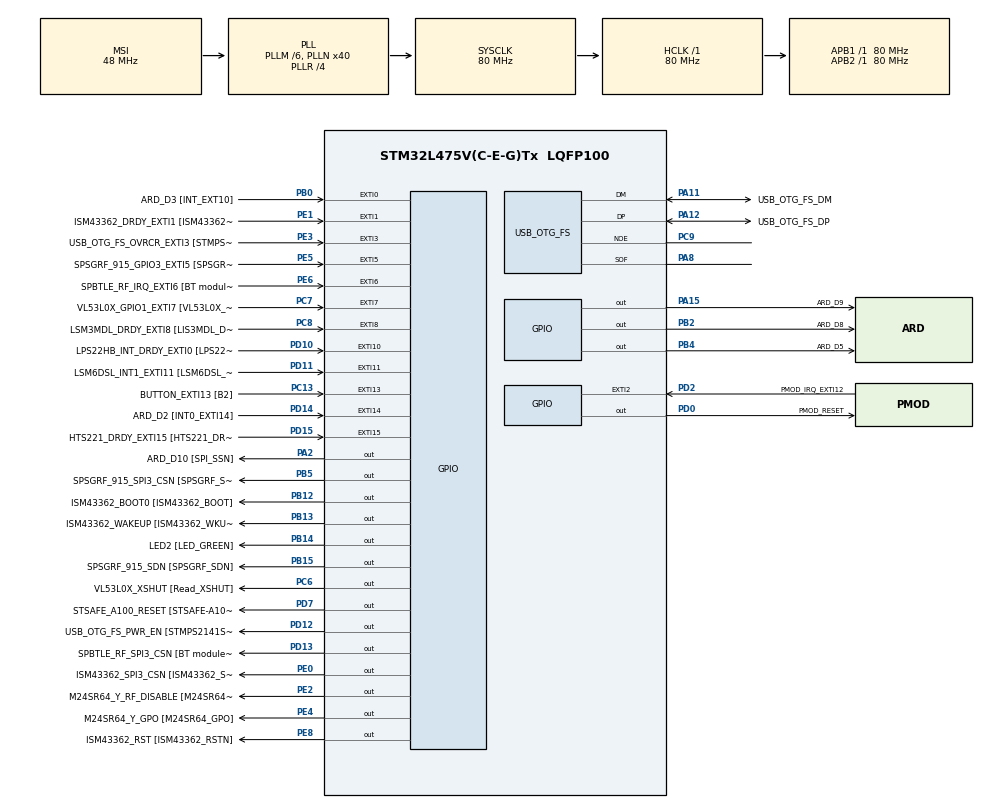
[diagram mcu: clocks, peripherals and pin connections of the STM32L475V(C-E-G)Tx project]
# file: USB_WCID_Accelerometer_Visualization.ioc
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Mcu.Family=STM32L4
Mcu.Name=STM32L475V(C-E-G)Tx
Mcu.Package=LQFP100
NVIC.EXTI15_10_IRQn=true\:0\:0\:false\:false\:true\:true\:true
NVIC.EXTI9_5_IRQn=true\:0\:0\:false\:false\:true\:true\:true
NVIC.OTG_FS_IRQn=true\:7\:0\:true\:false\:true\:true\:true
NVIC.PriorityGroup=NVIC_PRIORITYGROUP_4
PA0.GPIO_Label=ARD_D1 [UART4_TX]
PA0.Signal=UART4_TX
PA1.GPIO_Label=ARD_D0 [UART4_RX]
PA1.Signal=UART4_RX
PA10.GPIO_Label=USB_OTG_FS_ID
PA10.Signal=USB_OTG_FS_ID
PA11.GPIO_Label=USB_OTG_FS_DM
PA11.Mode=Device_Only
PA11.Signal=USB_OTG_FS_DM
PA12.GPIO_Label=USB_OTG_FS_DP
PA12.Mode=Device_Only
PA12.Signal=USB_OTG_FS_DP
PA13\ (JTMS-SWDIO).GPIO_Label=SYS_JTMS_SWDIO
PA13\ (JTMS-SWDIO).Signal=SYS_JTMS-SWDIO
PA14\ (JTCK-SWCLK).GPIO_Label=SYS_JTCK_SWCLK
PA14\ (JTCK-SWCLK).Signal=SYS_JTCK-SWCLK
PA15\ (JTDI).GPIO_Label=ARD_D9
PA15\ (JTDI).Signal=GPIO_Output
PA2.GPIO_Label=ARD_D10 [SPI_SSN]
PA2.Signal=GPIO_Output
PA3.GPIO_Label=ARD_D4
PA3.Signal=S_TIM2_CH4
PA4.GPIO_Label=ARD_D7
PA4.Signal=ADCx_IN9
PA5.GPIO_Label=ARD_D13 [SPI1_SCK]
PA5.Signal=SPI1_SCK
PA6.GPIO_Label=ARD_D12 [SPI1_MISO]
PA6.Signal=SPI1_MISO
PA7.GPIO_Label=ARD_D11 [SPI1_MOSI]
PA7.Signal=SPI1_MOSI
PA8.Mode=Activate_SOF_FS
PA8.Signal=USB_OTG_FS_SOF
PA9.GPIO_Label=USB_OTG_FS_VBUS [STMPS2141STR_OUT]
PA9.Signal=USB_OTG_FS_VBUS
PB0.GPIO_Label=ARD_D3 [INT_EXT10]
PB0.Signal=GPXTI0
PB1.GPIO_Label=ARD_D6 [ADC1_IN6]
PB1.Signal=ADCx_IN16
PB10.GPIO_Label=INTERNAL_I2C2_SCL [VL53L0X_SCL]
PB10.Signal=I2C2_SCL
PB11.GPIO_Label=INTERNAL_I2C2_SDA [VL53L0X_SDA]
PB11.Signal=I2C2_SDA
PB12.GPIO_Label=ISM43362_BOOT0 [ISM43362_BOOT]
PB12.Signal=GPIO_Output
PB13.GPIO_Label=ISM43362_WAKEUP [ISM43362_WKUP]
PB13.Signal=GPIO_Output
PB14.GPIO_Label=LED2 [LED_GREEN]
PB14.Signal=GPIO_Output
PB15.GPIO_Label=SPSGRF_915_SDN [SPSGRF_SDN]
PB15.Signal=GPIO_Output
PB2.GPIO_Label=ARD_D8
PB2.Signal=GPIO_Output
PB3\ (JTDO-TRACESWO).GPIO_Label=SYS_JTD0_SWO
PB3\ (JTDO-TRACESWO).Signal=SYS_JTDO-SWO
PB4\ (NJTRST).GPIO_Label=ARD_D5
PB4\ (NJTRST).Signal=GPIO_Output
PB5.GPIO_Label=SPSGRF_915_SPI3_CSN [SPSGRF_SPI_CS]
PB5.PinState=GPIO_PIN_SET
PB5.Signal=GPIO_Output
PB6.GPIO_Label=ST_LINK_UART1_TX
PB6.Signal=USART1_TX
PB7.GPIO_Label=ST_LINK_UART1_RX
PB7.Signal=USART1_RX
PB8.GPIO_Label=ARD_D15 [I2C1_SCL]
PB8.Signal=I2C1_SCL
PB9.GPIO_Label=ARD_D14 [I2C1_SDA]
PB9.Signal=I2C1_SDA
PC0.GPIO_Label=ARD_A5 [ADC]
PC0.Signal=ADCx_IN1
PC1.GPIO_Label=ARD_A4 [ADC]
PC1.Signal=ADCx_IN2
PC10.GPIO_Label=INTERNAL_SPI3_SCK [BT module_SPI_SCLK] [ISM43362_SCK]
PC10.Signal=SPI3_SCK
PC11.GPIO_Label=INTERNAL_SPI3_MISO [BT module_SPI_MISO] [ISM43362_MISO]
PC11.Signal=SPI3_MISO
PC12.GPIO_Label=INTERNAL_SPI3_MOSI [BT module_SPI_MOSI] [ISM43362_MOSI]
PC12.Signal=SPI3_MOSI
PC13.GPIO_Label=BUTTON_EXTI13 [B2]
PC13.GPIO_ModeDefaultEXTI=GPIO_MODE_IT_FALLING
PC13.Signal=GPXTI13
PC14-OSC32_IN\ (PC14).Mode=LSE-External-Oscillator
PC14-OSC32_IN\ (PC14).Signal=RCC_OSC32_IN
PC15-OSC32_OUT\ (PC15).Mode=LSE-External-Oscillator
PC15-OSC32_OUT\ (PC15).Signal=RCC_OSC32_OUT
PC2.GPIO_Label=ARD_A3 [ADC]
PC2.Signal=ADCx_IN3
PC3.GPIO_Label=ARD_A2 [ADC]
PC3.Signal=ADCx_IN4
PC4.GPIO_Label=ARD_A1 [ADC]
PC4.Signal=ADCx_IN13
PC5.GPIO_Label=ARD_A0 [ADC]
PC5.Signal=ADCx_IN14
PC6.GPIO_Label=VL53L0X_XSHUT [Read_XSHUT]
PC6.Signal=GPIO_Output
PC7.GPIO_Label=VL53L0X_GPIO1_EXTI7 [VL53L0X_GPIO1]
PC7.Signal=GPXTI7
PC8.GPIO_Label=LSM3MDL_DRDY_EXTI8 [LIS3MDL_DRDY]
PC8.Signal=GPXTI8
PC9.Mode=Activate_NOE
PC9.Signal=USB_OTG_FS_NOE
PD0.GPIO_Label=PMOD_RESET
PD0.Signal=GPIO_Output
PD1.GPIO_Label=PMOD_SPI2_SCK
PD1.Signal=SPI2_SCK
PD10.GPIO_Label=LPS22HB_INT_DRDY_EXTI0 [LPS22HB_INT_DRDY] 
PD10.Signal=GPXTI10
PD11.GPIO_Label=LSM6DSL_INT1_EXTI11 [LSM6DSL_INT1]
PD11.Signal=GPXTI11
PD12.GPIO_Label=USB_OTG_FS_PWR_EN [STMPS2141STR_EN]
PD12.Signal=GPIO_Output
PD13.GPIO_Label=SPBTLE_RF_SPI3_CSN [BT module_SPI_CS]
PD13.PinState=GPIO_PIN_SET
PD13.Signal=GPIO_Output
PD14.GPIO_Label=ARD_D2 [INT0_EXTI14]
PD14.Signal=GPXTI14
PD15.GPIO_Label=HTS221_DRDY_EXTI15 [HTS221_DRDY]
PD15.Signal=GPXTI15
PD2.GPIO_Label=PMOD_IRQ_EXTI12
PD2.Signal=GPXTI2
PD3.GPIO_Label=PMOD_UART2_CTS
PD3.Signal=USART2_CTS
PD4.GPIO_Label=PMOD_UART2_RTS
PD4.Signal=USART2_RTS
PD5.GPIO_Label=PMOD_UART2_TX
PD5.Signal=USART2_TX
PD6.GPIO_Label=PMOD_UART2_RX
PD6.Signal=USART2_RX
PD7.GPIO_Label=STSAFE_A100_RESET [STSAFE-A100_RESET]
PD7.Signal=GPIO_Output
PD8.GPIO_Label=INTERNAL_UART3_TX [ISM43362_RX]
PD8.Signal=USART3_TX
PD9.GPIO_Label=INTERNAL_UART3_RX [ISM43362_TX]
PD9.Signal=USART3_RX
PE0.GPIO_Label=ISM43362_SPI3_CSN [ISM43362_SSN]
PE0.PinState=GPIO_PIN_SET
PE0.Signal=GPIO_Output
PE1.GPIO_Label=ISM43362_DRDY_EXTI1 [ISM43362_DATARDY]
PE1.Signal=GPXTI1
PE10.GPIO_Label=QUADSPI_CLK [MX25R6435F_SCLK]
PE10.Signal=QUADSPI_CLK
PE11.GPIO_Label=QUADSPI_NCS [MX25R6435F_SCLK]
PE11.Signal=QUADSPI_NCS
PE12.GPIO_Label=OQUADSPI_BK1_IO0 [MX25R6435F_IO0]
PE12.Signal=QUADSPI_BK1_IO0
PE13.GPIO_Label=QUADSPI_BK1_IO1 [MX25R6435F_IO1]
PE13.Signal=QUADSPI_BK1_IO1
PE14.GPIO_Label=QUAD_SPI_BK1_IO2 [MX25R6435F_IO2]
PE14.Signal=QUADSPI_BK1_IO2
PE15.GPIO_Label=QUAD_SPI_BK1_IO3 [MX25R6435F_IO3]
PE15.Signal=QUADSPI_BK1_IO3
PE2.GPIO_Label=M24SR64_Y_RF_DISABLE [M24SR64_RFDIS]
PE2.Signal=GPIO_Output
PE3.GPIO_Label=USB_OTG_FS_OVRCR_EXTI3 [STMPS2141STR_FAULT]
PE3.Signal=GPXTI3
PE4.GPIO_Label=M24SR64_Y_GPO [M24SR64_GPO]
PE4.Signal=GPIO_Output
PE5.GPIO_Label=SPSGRF_915_GPIO3_EXTI5 [SPSGRF_GPIO_3]
PE5.Signal=GPXTI5
PE6.GPIO_Label=SPBTLE_RF_IRQ_EXTI6 [BT module_SPI_IRQ]
PE6.Signal=GPXTI6
PE7.GPIO_Label=DFSDM1_DATIN2 [MP34DT01_DOUT]
PE7.Signal=S_DATAIN2DFSDM1
PE8.GPIO_Label=ISM43362_RST [ISM43362_RSTN]
PE8.Signal=GPIO_Output
PE9.GPIO_Label=DFSDM1_CKOUT [MP34DT01_CLK]
PE9.Signal=S_CKOUTDFSDM1
PH0-OSC_IN\ (PH0).Mode=HSE-External-Oscillator
PH0-OSC_IN\ (PH0).Signal=RCC_OSC_IN
PH1-OSC_OUT\ (PH1).Mode=HSE-External-Oscillator
PH1-OSC_OUT\ (PH1).Signal=RCC_OSC_OUT
ProjectManager.HeapSize=0x2000
ProjectManager.StackSize=0x4000
ProjectManager.TargetToolchain=STM32CubeIDE
RCC.ADCFreq_Value=48000000
RCC.AHBFreq_Value=80000000
RCC.APB1Freq_Value=80000000
RCC.APB1TimFreq_Value=80000000
RCC.APB2Freq_Value=80000000
RCC.APB2TimFreq_Value=80000000
RCC.CK48CLockSelection=RCC_USBCLKSOURCE_MSI
RCC.CortexFreq_Value=80000000
RCC.HCLKFreq_Value=80000000
RCC.HSE_VALUE=8000000
RCC.HSI_VALUE=16000000
RCC.MSIClockRange=RCC_MSIRANGE_11
RCC.MSI_VALUE=48000000
RCC.PLLM=6
RCC.PLLN=40
RCC.PLLR=RCC_PLLR_DIV4
RCC.PLLSAI1N=12
RCC.SYSCLKFreq_VALUE=80000000
RCC.SYSCLKSource=RCC_SYSCLKSOURCE_PLLCLK
RCC.USBFreq_Value=48000000
RCC.VCOOutputFreq_Value=320000000
SH.ADCx_IN1.0=ADC1_IN1
SH.ADCx_IN13.0=ADC1_IN13
SH.ADCx_IN14.0=ADC1_IN14
SH.ADCx_IN16.0=ADC1_IN16
SH.ADCx_IN2.0=ADC1_IN2
SH.ADCx_IN3.0=ADC1_IN3
SH.ADCx_IN4.0=ADC1_IN4
SH.ADCx_IN9.0=ADC1_IN9
SH.S_CKOUTDFSDM1.0=DFSDM1_CKOUT
SH.S_DATAIN2DFSDM1.0=DFSDM1_DATIN2
SH.S_TIM2_CH4.0=TIM2_CH4
USB_OTG_FS.VirtualMode=Device_Only
board=B-L475E-IOT01A1

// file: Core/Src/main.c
/* USER CODE BEGIN Header */
/**
  ******************************************************************************
  * @file           : main.c
  * @brief          : Main program body
  ******************************************************************************
  * @attention
  *
  * Copyright (c) 2020-2021 STMicroelectronics.
  * All rights reserved.
  * This software is licensed under terms that can be found in the LICENSE file in
  * the root directory of this software component.
  * If no LICENSE file comes with this software, it is provided AS-IS.
  *
  ******************************************************************************
  */
/* USER CODE END Header */
#include "main.h"

/* USER CODE BEGIN Includes */
#undef CUBEIDE
#ifdef CUBEIDE
#include "../../../../../../Drivers/Components/lsm6dsl/lsm6dsl.h"
#else
#include "lsm6dsl.h"
#endif

#include "b_l475e_iot01a1_bus.h"

#include "ai_logging.h"

/* USER CODE END Includes */

PCD_HandleTypeDef hpcd_USB_OTG_FS;

/* USER CODE BEGIN PV */
//PCD_HandleTypeDef hpcd_USB_OTG_FS;

#define SEND_BUFFER_SIZE 128
static uint8_t send_buffer[SEND_BUFFER_SIZE];

//extern PCD_HandleTypeDef hpcd;

extern uint32_t UserTxBufPtrIn;
extern uint8_t *UserTxBuffer;

LSM6DSL_Object_t MotionSensor;
volatile uint32_t motionDataAvailable;

extern volatile uint8_t usb_connected;
extern volatile uint8_t streaming_started;

USBD_HandleTypeDef USBD_Device;
ai_logging_device_t device;

/* USER CODE END PV */

void SystemClock_Config(void);
static void MX_GPIO_Init(void);
static void MX_USB_OTG_FS_PCD_Init(void);
/* USER CODE BEGIN PFP */
static void MEMS_Init(void);

/* USER CODE END PFP */

int main(void)
{

  /* MCU Configuration--------------------------------------------------------*/

  /* Reset of all peripherals, Initializes the Flash interface and the Systick. */
  HAL_Init();

  /* Configure the system clock */
  SystemClock_Config();

  /* USER CODE BEGIN SysInit */

  /* Enable Power Clock*/
  __HAL_RCC_PWR_CLK_ENABLE();

  /* enable USB power on Pwrctrl CR2 register */
  HAL_PWREx_EnableVddUSB();
  HAL_PWREx_EnableVddIO2();

  /* USER CODE END SysInit */

  /* Initialize all configured peripherals */
  MX_GPIO_Init();
  MX_USB_OTG_FS_PCD_Init();

  /* Infinite loop */
  /* USER CODE BEGIN WHILE */

  /* Init Device Library for USB WCID */
  USBD_Init(&USBD_Device, &WCID_STREAMING_Desc, 0);
  /* Add Supported Class */
  USBD_RegisterClass(&USBD_Device, USBD_WCID_STREAMING_CLASS);
  /* Add CDC Interface Class */
  USBD_WCID_STREAMING_RegisterInterface(&USBD_Device, &USBD_WCID_STREAMING_fops);
  /* Start Device Process */
  USBD_Start(&USBD_Device);

  MEMS_Init();

  // Stucture init
  ai_logging_init(&device);
  ai_logging_init_send(&device, usb_wcid_send_function, send_buffer, SEND_BUFFER_SIZE);

  LSM6DSL_Axes_t acc_axes;
  ai_logging_packet_t packet;

  while(usb_connected < 1); // Be sure we are detected by computer

  motionDataAvailable = 0;

  start_streaming();

  while (1)
  {
    if(streaming_started == 1)
    {
      if(motionDataAvailable > 0)
      {
        LSM6DSL_ACC_GetAxes(&MotionSensor, &acc_axes);

        packet.message = "Accelero";
        packet.message_size = strlen(packet.message);
        packet.payload = (uint8_t*)&acc_axes;
        packet.payload_size = sizeof(acc_axes);
        ai_logging_create_shape_1d(&packet.shape, 3);
        packet.payload_type = AI_INT32;
        packet.timestamp = HAL_GetTick();
        ai_logging_send_packet(&device, &packet);
      }
    }
  }
    /* USER CODE END WHILE */

}

void SystemClock_Config(void)
{
  RCC_OscInitTypeDef RCC_OscInitStruct = {0};
  RCC_ClkInitTypeDef RCC_ClkInitStruct = {0};
  RCC_PeriphCLKInitTypeDef PeriphClkInit = {0};

  /** Configure LSE Drive Capability
  */
  HAL_PWR_EnableBkUpAccess();
  __HAL_RCC_LSEDRIVE_CONFIG(RCC_LSEDRIVE_LOW);
  /** Initializes the RCC Oscillators according to the specified parameters
  * in the RCC_OscInitTypeDef structure.
  */
  RCC_OscInitStruct.OscillatorType = RCC_OSCILLATORTYPE_LSE|RCC_OSCILLATORTYPE_MSI;
  RCC_OscInitStruct.LSEState = RCC_LSE_ON;
  RCC_OscInitStruct.MSIState = RCC_MSI_ON;
  RCC_OscInitStruct.MSICalibrationValue = 0;
  RCC_OscInitStruct.MSIClockRange = RCC_MSIRANGE_11;
  RCC_OscInitStruct.PLL.PLLState = RCC_PLL_ON;
  RCC_OscInitStruct.PLL.PLLSource = RCC_PLLSOURCE_MSI;
  RCC_OscInitStruct.PLL.PLLM = 6;
  RCC_OscInitStruct.PLL.PLLN = 40;
  RCC_OscInitStruct.PLL.PLLP = RCC_PLLP_DIV7;
  RCC_OscInitStruct.PLL.PLLQ = RCC_PLLQ_DIV2;
  RCC_OscInitStruct.PLL.PLLR = RCC_PLLR_DIV4;
  if (HAL_RCC_OscConfig(&RCC_OscInitStruct) != HAL_OK)
  {
    Error_Handler();
  }
  /** Initializes the CPU, AHB and APB buses clocks
  */
  RCC_ClkInitStruct.ClockType = RCC_CLOCKTYPE_HCLK|RCC_CLOCKTYPE_SYSCLK
                              |RCC_CLOCKTYPE_PCLK1|RCC_CLOCKTYPE_PCLK2;
  RCC_ClkInitStruct.SYSCLKSource = RCC_SYSCLKSOURCE_PLLCLK;
  RCC_ClkInitStruct.AHBCLKDivider = RCC_SYSCLK_DIV1;
  RCC_ClkInitStruct.APB1CLKDivider = RCC_HCLK_DIV1;
  RCC_ClkInitStruct.APB2CLKDivider = RCC_HCLK_DIV1;

  if (HAL_RCC_ClockConfig(&RCC_ClkInitStruct, FLASH_LATENCY_4) != HAL_OK)
  {
    Error_Handler();
  }
  PeriphClkInit.PeriphClockSelection = RCC_PERIPHCLK_USB;
  PeriphClkInit.UsbClockSelection = RCC_USBCLKSOURCE_MSI;
  if (HAL_RCCEx_PeriphCLKConfig(&PeriphClkInit) != HAL_OK)
  {
    Error_Handler();
  }
  /** Configure the main internal regulator output voltage
  */
  if (HAL_PWREx_ControlVoltageScaling(PWR_REGULATOR_VOLTAGE_SCALE1) != HAL_OK)
  {
    Error_Handler();
  }
  /** Enable MSI Auto calibration
  */
  HAL_RCCEx_EnableMSIPLLMode();
}

static void MX_USB_OTG_FS_PCD_Init(void)
{

  hpcd_USB_OTG_FS.Instance = USB_OTG_FS;
  hpcd_USB_OTG_FS.Init.dev_endpoints = 6;
  hpcd_USB_OTG_FS.Init.speed = PCD_SPEED_FULL;
  hpcd_USB_OTG_FS.Init.phy_itface = PCD_PHY_EMBEDDED;
  hpcd_USB_OTG_FS.Init.Sof_enable = ENABLE;
  hpcd_USB_OTG_FS.Init.low_power_enable = DISABLE;
  hpcd_USB_OTG_FS.Init.lpm_enable = DISABLE;
  hpcd_USB_OTG_FS.Init.battery_charging_enable = DISABLE;
  hpcd_USB_OTG_FS.Init.use_dedicated_ep1 = DISABLE;
  hpcd_USB_OTG_FS.Init.vbus_sensing_enable = DISABLE;
  if (HAL_PCD_Init(&hpcd_USB_OTG_FS) != HAL_OK)
  {
    Error_Handler();
  }

}

static void MX_GPIO_Init(void)
{
  GPIO_InitTypeDef GPIO_InitStruct = {0};

  /* GPIO Ports Clock Enable */
  __HAL_RCC_GPIOE_CLK_ENABLE();
  __HAL_RCC_GPIOC_CLK_ENABLE();
  __HAL_RCC_GPIOH_CLK_ENABLE();
  __HAL_RCC_GPIOA_CLK_ENABLE();
  __HAL_RCC_GPIOB_CLK_ENABLE();
  __HAL_RCC_GPIOD_CLK_ENABLE();

  /*Configure GPIO pin Output Level */
  HAL_GPIO_WritePin(GPIOE, M24SR64_Y_RF_DISABLE_Pin|M24SR64_Y_GPO_Pin|ISM43362_RST_Pin, GPIO_PIN_RESET);

  /*Configure GPIO pin Output Level */
  HAL_GPIO_WritePin(GPIOA, ARD_D10_Pin|ARD_D9_Pin, GPIO_PIN_RESET);

  /*Configure GPIO pin Output Level */
  HAL_GPIO_WritePin(GPIOB, ARD_D8_Pin|ISM43362_BOOT0_Pin|ISM43362_WAKEUP_Pin|LED2_Pin
                          |SPSGRF_915_SDN_Pin|ARD_D5_Pin, GPIO_PIN_RESET);

  /*Configure GPIO pin Output Level */
  HAL_GPIO_WritePin(GPIOD, USB_OTG_FS_PWR_EN_Pin|PMOD_RESET_Pin|STSAFE_A100_RESET_Pin, GPIO_PIN_RESET);

  /*Configure GPIO pin Output Level */
  HAL_GPIO_WritePin(SPBTLE_RF_SPI3_CSN_GPIO_Port, SPBTLE_RF_SPI3_CSN_Pin, GPIO_PIN_SET);

  /*Configure GPIO pin Output Level */
  HAL_GPIO_WritePin(VL53L0X_XSHUT_GPIO_Port, VL53L0X_XSHUT_Pin, GPIO_PIN_RESET);

  /*Configure GPIO pin Output Level */
  HAL_GPIO_WritePin(SPSGRF_915_SPI3_CSN_GPIO_Port, SPSGRF_915_SPI3_CSN_Pin, GPIO_PIN_SET);

  /*Configure GPIO pin Output Level */
  HAL_GPIO_WritePin(ISM43362_SPI3_CSN_GPIO_Port, ISM43362_SPI3_CSN_Pin, GPIO_PIN_SET);

  /*Configure GPIO pins : M24SR64_Y_RF_DISABLE_Pin M24SR64_Y_GPO_Pin ISM43362_RST_Pin ISM43362_SPI3_CSN_Pin */
  GPIO_InitStruct.Pin = M24SR64_Y_RF_DISABLE_Pin|M24SR64_Y_GPO_Pin|ISM43362_RST_Pin|ISM43362_SPI3_CSN_Pin;
  GPIO_InitStruct.Mode = GPIO_MODE_OUTPUT_PP;
  GPIO_InitStruct.Pull = GPIO_NOPULL;
  GPIO_InitStruct.Speed = GPIO_SPEED_FREQ_LOW;
  HAL_GPIO_Init(GPIOE, &GPIO_InitStruct);

  /*Configure GPIO pins : USB_OTG_FS_OVRCR_EXTI3_Pin SPSGRF_915_GPIO3_EXTI5_Pin SPBTLE_RF_IRQ_EXTI6_Pin ISM43362_DRDY_EXTI1_Pin */
  GPIO_InitStruct.Pin = USB_OTG_FS_OVRCR_EXTI3_Pin|SPSGRF_915_GPIO3_EXTI5_Pin|SPBTLE_RF_IRQ_EXTI6_Pin|ISM43362_DRDY_EXTI1_Pin;
  GPIO_InitStruct.Mode = GPIO_MODE_IT_RISING;
  GPIO_InitStruct.Pull = GPIO_NOPULL;
  HAL_GPIO_Init(GPIOE, &GPIO_InitStruct);

  /*Configure GPIO pin : BUTTON_EXTI13_Pin */
  GPIO_InitStruct.Pin = BUTTON_EXTI13_Pin;
  GPIO_InitStruct.Mode = GPIO_MODE_IT_FALLING;
  GPIO_InitStruct.Pull = GPIO_NOPULL;
  HAL_GPIO_Init(BUTTON_EXTI13_GPIO_Port, &GPIO_InitStruct);

  /*Configure GPIO pins : ARD_A5_Pin ARD_A4_Pin ARD_A3_Pin ARD_A2_Pin
                           ARD_A1_Pin ARD_A0_Pin */
  GPIO_InitStruct.Pin = ARD_A5_Pin|ARD_A4_Pin|ARD_A3_Pin|ARD_A2_Pin
                          |ARD_A1_Pin|ARD_A0_Pin;
  GPIO_InitStruct.Mode = GPIO_MODE_ANALOG_ADC_CONTROL;
  GPIO_InitStruct.Pull = GPIO_NOPULL;
  HAL_GPIO_Init(GPIOC, &GPIO_InitStruct);

  /*Configure GPIO pins : ARD_D1_Pin ARD_D0_Pin */
  GPIO_InitStruct.Pin = ARD_D1_Pin|ARD_D0_Pin;
  GPIO_InitStruct.Mode = GPIO_MODE_AF_PP;
  GPIO_InitStruct.Pull = GPIO_NOPULL;
  GPIO_InitStruct.Speed = GPIO_SPEED_FREQ_VERY_HIGH;
  GPIO_InitStruct.Alternate = GPIO_AF8_UART4;
  HAL_GPIO_Init(GPIOA, &GPIO_InitStruct);

  /*Configure GPIO pins : ARD_D10_Pin ARD_D9_Pin */
  GPIO_InitStruct.Pin = ARD_D10_Pin|ARD_D9_Pin;
  GPIO_InitStruct.Mode = GPIO_MODE_OUTPUT_PP;
  GPIO_InitStruct.Pull = GPIO_NOPULL;
  GPIO_InitStruct.Speed = GPIO_SPEED_FREQ_LOW;
  HAL_GPIO_Init(GPIOA, &GPIO_InitStruct);

  /*Configure GPIO pin : ARD_D4_Pin */
  GPIO_InitStruct.Pin = ARD_D4_Pin;
  GPIO_InitStruct.Mode = GPIO_MODE_AF_PP;
  GPIO_InitStruct.Pull = GPIO_NOPULL;
  GPIO_InitStruct.Speed = GPIO_SPEED_FREQ_LOW;
  GPIO_InitStruct.Alternate = GPIO_AF1_TIM2;
  HAL_GPIO_Init(ARD_D4_GPIO_Port, &GPIO_InitStruct);

  /*Configure GPIO pin : ARD_D7_Pin */
  GPIO_InitStruct.Pin = ARD_D7_Pin;
  GPIO_InitStruct.Mode = GPIO_MODE_ANALOG_ADC_CONTROL;
  GPIO_InitStruct.Pull = GPIO_NOPULL;
  HAL_GPIO_Init(ARD_D7_GPIO_Port, &GPIO_InitStruct);

  /*Configure GPIO pins : ARD_D13_Pin ARD_D12_Pin ARD_D11_Pin */
  GPIO_InitStruct.Pin = ARD_D13_Pin|ARD_D12_Pin|ARD_D11_Pin;
  GPIO_InitStruct.Mode = GPIO_MODE_AF_PP;
  GPIO_InitStruct.Pull = GPIO_NOPULL;
  GPIO_InitStruct.Speed = GPIO_SPEED_FREQ_VERY_HIGH;
  GPIO_InitStruct.Alternate = GPIO_AF5_SPI1;
  HAL_GPIO_Init(GPIOA, &GPIO_InitStruct);

  /*Configure GPIO pin : ARD_D3_Pin */
  GPIO_InitStruct.Pin = ARD_D3_Pin;
  GPIO_InitStruct.Mode = GPIO_MODE_IT_RISING;
  GPIO_InitStruct.Pull = GPIO_NOPULL;
  HAL_GPIO_Init(ARD_D3_GPIO_Port, &GPIO_InitStruct);

  /*Configure GPIO pin : ARD_D6_Pin */
  GPIO_InitStruct.Pin = ARD_D6_Pin;
  GPIO_InitStruct.Mode = GPIO_MODE_ANALOG_ADC_CONTROL;
  GPIO_InitStruct.Pull = GPIO_NOPULL;
  HAL_GPIO_Init(ARD_D6_GPIO_Port, &GPIO_InitStruct);

  /*Configure GPIO pins : ARD_D8_Pin ISM43362_BOOT0_Pin ISM43362_WAKEUP_Pin LED2_Pin
                           SPSGRF_915_SDN_Pin ARD_D5_Pin SPSGRF_915_SPI3_CSN_Pin */
  GPIO_InitStruct.Pin = ARD_D8_Pin|ISM43362_BOOT0_Pin|ISM43362_WAKEUP_Pin|LED2_Pin
                          |SPSGRF_915_SDN_Pin|ARD_D5_Pin|SPSGRF_915_SPI3_CSN_Pin;
  GPIO_InitStruct.Mode = GPIO_MODE_OUTPUT_PP;
  GPIO_InitStruct.Pull = GPIO_NOPULL;
  GPIO_InitStruct.Speed = GPIO_SPEED_FREQ_LOW;
  HAL_GPIO_Init(GPIOB, &GPIO_InitStruct);

  /*Configure GPIO pins : DFSDM1_DATIN2_Pin DFSDM1_CKOUT_Pin */
  GPIO_InitStruct.Pin = DFSDM1_DATIN2_Pin|DFSDM1_CKOUT_Pin;
  GPIO_InitStruct.Mode = GPIO_MODE_AF_PP;
  GPIO_InitStruct.Pull = GPIO_NOPULL;
  GPIO_InitStruct.Speed = GPIO_SPEED_FREQ_LOW;
  GPIO_InitStruct.Alternate = GPIO_AF6_DFSDM1;
  HAL_GPIO_Init(GPIOE, &GPIO_InitStruct);

  /*Configure GPIO pins : QUADSPI_CLK_Pin QUADSPI_NCS_Pin OQUADSPI_BK1_IO0_Pin QUADSPI_BK1_IO1_Pin
                           QUAD_SPI_BK1_IO2_Pin QUAD_SPI_BK1_IO3_Pin */
  GPIO_InitStruct.Pin = QUADSPI_CLK_Pin|QUADSPI_NCS_Pin|OQUADSPI_BK1_IO0_Pin|QUADSPI_BK1_IO1_Pin
                          |QUAD_SPI_BK1_IO2_Pin|QUAD_SPI_BK1_IO3_Pin;
  GPIO_InitStruct.Mode = GPIO_MODE_AF_PP;
  GPIO_InitStruct.Pull = GPIO_NOPULL;
  GPIO_InitStruct.Speed = GPIO_SPEED_FREQ_VERY_HIGH;
  GPIO_InitStruct.Alternate = GPIO_AF10_QUADSPI;
  HAL_GPIO_Init(GPIOE, &GPIO_InitStruct);

  /*Configure GPIO pins : INTERNAL_I2C2_SCL_Pin INTERNAL_I2C2_SDA_Pin */
  GPIO_InitStruct.Pin = INTERNAL_I2C2_SCL_Pin|INTERNAL_I2C2_SDA_Pin;
  GPIO_InitStruct.Mode = GPIO_MODE_AF_OD;
  GPIO_InitStruct.Pull = GPIO_PULLUP;
  GPIO_InitStruct.Speed = GPIO_SPEED_FREQ_VERY_HIGH;
  GPIO_InitStruct.Alternate = GPIO_AF4_I2C2;
  HAL_GPIO_Init(GPIOB, &GPIO_InitStruct);

  /*Configure GPIO pins : INTERNAL_UART3_TX_Pin INTERNAL_UART3_RX_Pin */
  GPIO_InitStruct.Pin = INTERNAL_UART3_TX_Pin|INTERNAL_UART3_RX_Pin;
  GPIO_InitStruct.Mode = GPIO_MODE_AF_PP;
  GPIO_InitStruct.Pull = GPIO_NOPULL;
  GPIO_InitStruct.Speed = GPIO_SPEED_FREQ_VERY_HIGH;
  GPIO_InitStruct.Alternate = GPIO_AF7_USART3;
  HAL_GPIO_Init(GPIOD, &GPIO_InitStruct);

  /*Configure GPIO pins : LPS22HB_INT_DRDY_EXTI0_Pin LSM6DSL_INT1_EXTI11_Pin ARD_D2_Pin HTS221_DRDY_EXTI15_Pin
                           PMOD_IRQ_EXTI12_Pin */
  GPIO_InitStruct.Pin = LPS22HB_INT_DRDY_EXTI0_Pin|LSM6DSL_INT1_EXTI11_Pin|ARD_D2_Pin|HTS221_DRDY_EXTI15_Pin
                          |PMOD_IRQ_EXTI12_Pin;
  GPIO_InitStruct.Mode = GPIO_MODE_IT_RISING;
  GPIO_InitStruct.Pull = GPIO_NOPULL;
  HAL_GPIO_Init(GPIOD, &GPIO_InitStruct);

  /*Configure GPIO pins : USB_OTG_FS_PWR_EN_Pin SPBTLE_RF_SPI3_CSN_Pin PMOD_RESET_Pin STSAFE_A100_RESET_Pin */
  GPIO_InitStruct.Pin = USB_OTG_FS_PWR_EN_Pin|SPBTLE_RF_SPI3_CSN_Pin|PMOD_RESET_Pin|STSAFE_A100_RESET_Pin;
  GPIO_InitStruct.Mode = GPIO_MODE_OUTPUT_PP;
  GPIO_InitStruct.Pull = GPIO_NOPULL;
  GPIO_InitStruct.Speed = GPIO_SPEED_FREQ_LOW;
  HAL_GPIO_Init(GPIOD, &GPIO_InitStruct);

  /*Configure GPIO pin : VL53L0X_XSHUT_Pin */
  GPIO_InitStruct.Pin = VL53L0X_XSHUT_Pin;
  GPIO_InitStruct.Mode = GPIO_MODE_OUTPUT_PP;
  GPIO_InitStruct.Pull = GPIO_NOPULL;
  GPIO_InitStruct.Speed = GPIO_SPEED_FREQ_LOW;
  HAL_GPIO_Init(VL53L0X_XSHUT_GPIO_Port, &GPIO_InitStruct);

  /*Configure GPIO pins : VL53L0X_GPIO1_EXTI7_Pin LSM3MDL_DRDY_EXTI8_Pin */
  GPIO_InitStruct.Pin = VL53L0X_GPIO1_EXTI7_Pin|LSM3MDL_DRDY_EXTI8_Pin;
  GPIO_InitStruct.Mode = GPIO_MODE_IT_RISING;
  GPIO_InitStruct.Pull = GPIO_NOPULL;
  HAL_GPIO_Init(GPIOC, &GPIO_InitStruct);

  /*Configure GPIO pins : INTERNAL_SPI3_SCK_Pin INTERNAL_SPI3_MISO_Pin INTERNAL_SPI3_MOSI_Pin */
  GPIO_InitStruct.Pin = INTERNAL_SPI3_SCK_Pin|INTERNAL_SPI3_MISO_Pin|INTERNAL_SPI3_MOSI_Pin;
  GPIO_InitStruct.Mode = GPIO_MODE_AF_PP;
  GPIO_InitStruct.Pull = GPIO_NOPULL;
  GPIO_InitStruct.Speed = GPIO_SPEED_FREQ_VERY_HIGH;
  GPIO_InitStruct.Alternate = GPIO_AF6_SPI3;
  HAL_GPIO_Init(GPIOC, &GPIO_InitStruct);

  /*Configure GPIO pin : PMOD_SPI2_SCK_Pin */
  GPIO_InitStruct.Pin = PMOD_SPI2_SCK_Pin;
  GPIO_InitStruct.Mode = GPIO_MODE_AF_PP;
  GPIO_InitStruct.Pull = GPIO_NOPULL;
  GPIO_InitStruct.Speed = GPIO_SPEED_FREQ_VERY_HIGH;
  GPIO_InitStruct.Alternate = GPIO_AF5_SPI2;
  HAL_GPIO_Init(PMOD_SPI2_SCK_GPIO_Port, &GPIO_InitStruct);

  /*Configure GPIO pins : PMOD_UART2_CTS_Pin PMOD_UART2_RTS_Pin PMOD_UART2_TX_Pin PMOD_UART2_RX_Pin */
  GPIO_InitStruct.Pin = PMOD_UART2_CTS_Pin|PMOD_UART2_RTS_Pin|PMOD_UART2_TX_Pin|PMOD_UART2_RX_Pin;
  GPIO_InitStruct.Mode = GPIO_MODE_AF_PP;
  GPIO_InitStruct.Pull = GPIO_NOPULL;
  GPIO_InitStruct.Speed = GPIO_SPEED_FREQ_VERY_HIGH;
  GPIO_InitStruct.Alternate = GPIO_AF7_USART2;
  HAL_GPIO_Init(GPIOD, &GPIO_InitStruct);

  /*Configure GPIO pins : ST_LINK_UART1_TX_Pin ST_LINK_UART1_RX_Pin */
  GPIO_InitStruct.Pin = ST_LINK_UART1_TX_Pin|ST_LINK_UART1_RX_Pin;
  GPIO_InitStruct.Mode = GPIO_MODE_AF_PP;
  GPIO_InitStruct.Pull = GPIO_NOPULL;
  GPIO_InitStruct.Speed = GPIO_SPEED_FREQ_VERY_HIGH;
  GPIO_InitStruct.Alternate = GPIO_AF7_USART1;
  HAL_GPIO_Init(GPIOB, &GPIO_InitStruct);

  /*Configure GPIO pins : ARD_D15_Pin ARD_D14_Pin */
  GPIO_InitStruct.Pin = ARD_D15_Pin|ARD_D14_Pin;
  GPIO_InitStruct.Mode = GPIO_MODE_AF_OD;
  GPIO_InitStruct.Pull = GPIO_PULLUP;
  GPIO_InitStruct.Speed = GPIO_SPEED_FREQ_VERY_HIGH;
  GPIO_InitStruct.Alternate = GPIO_AF4_I2C1;
  HAL_GPIO_Init(GPIOB, &GPIO_InitStruct);

  /* EXTI interrupt init*/
  HAL_NVIC_SetPriority(EXTI9_5_IRQn, 0, 0);
  HAL_NVIC_EnableIRQ(EXTI9_5_IRQn);

  HAL_NVIC_SetPriority(EXTI15_10_IRQn, 0, 0);
  HAL_NVIC_EnableIRQ(EXTI15_10_IRQn);

}

/* USER CODE BEGIN 4 */
static void MEMS_Init(void)
{
  LSM6DSL_IO_t io_ctx;
  uint8_t id;
  LSM6DSL_AxesRaw_t axes;

  /* Link I2C functions to the LSM6DSL driver */
  io_ctx.BusType     = LSM6DSL_I2C_BUS;
  io_ctx.Address     = LSM6DSL_I2C_ADD_L;
  io_ctx.Init        = BSP_I2C2_Init;
  io_ctx.DeInit      = BSP_I2C2_DeInit;
  io_ctx.ReadReg     = BSP_I2C2_ReadReg;
  io_ctx.WriteReg    = BSP_I2C2_WriteReg;
  io_ctx.GetTick     = BSP_GetTick;
  LSM6DSL_RegisterBusIO(&MotionSensor, &io_ctx);

  /* Read the LSM6DSL WHO_AM_I register */
  LSM6DSL_ReadID(&MotionSensor, &id);
  if (id != LSM6DSL_ID) {
    Error_Handler();
  }

  /* Initialize the LSM6DSL sensor */
  LSM6DSL_Init(&MotionSensor);

  /* Configure the LSM6DSL accelerometer (ODR, scale and interrupt) */
  //LSM6DSL_ACC_SetOutputDataRate(&MotionSensor, 208.0f);
  LSM6DSL_ACC_SetOutputDataRate(&MotionSensor, 104.0f);
  //LSM6DSL_ACC_SetOutputDataRate(&MotionSensor, 26.0f);
  //LSM6DSL_ACC_SetOutputDataRate(&MotionSensor, 12.5f);

  LSM6DSL_ACC_SetFullScale(&MotionSensor, 4);          /* [-4000mg; +4000mg] */
  LSM6DSL_ACC_Set_INT1_DRDY(&MotionSensor, ENABLE);    /* Enable DRDY */
  LSM6DSL_ACC_GetAxesRaw(&MotionSensor, &axes);        /* Clear DRDY */
  LSM6DSL_Set_DRDY_Mode(&MotionSensor, 1);/*?DRDY?pulsed?mode?*/

  /* Start the LSM6DSL accelerometer */
  LSM6DSL_ACC_Enable(&MotionSensor);
}

void HAL_GPIO_EXTI_Callback(uint16_t GPIO_Pin)
{
  if (GPIO_Pin == GPIO_PIN_11) {
    motionDataAvailable += 1;
  }
}

/* USER CODE END 4 */

void Error_Handler(void)
{
}

/************************ (C) COPYRIGHT STMicroelectronics *****END OF FILE****/
